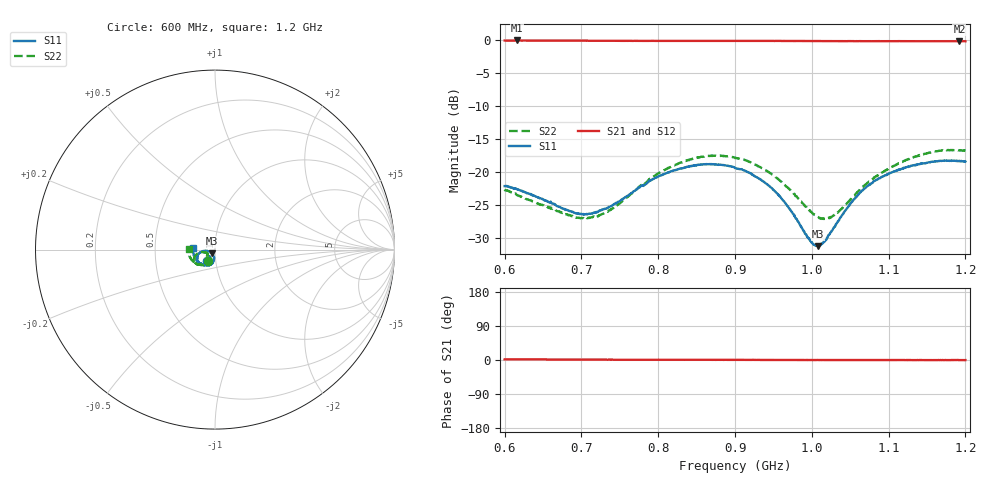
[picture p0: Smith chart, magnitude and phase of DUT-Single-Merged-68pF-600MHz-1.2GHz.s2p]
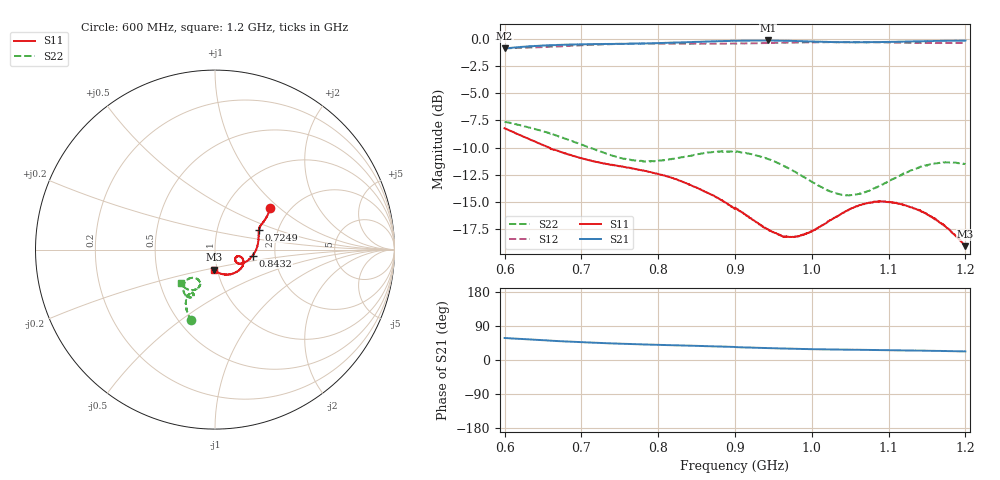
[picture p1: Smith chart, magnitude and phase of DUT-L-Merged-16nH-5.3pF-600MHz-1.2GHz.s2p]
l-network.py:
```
# %%
# Load networks from file

import skrf as rf

dc_block = rf.Network('Tests/DUT-Single-Merged-68pF-600MHz-1.2GHz.s2p')
l_network = rf.Network('Tests/DUT-L-Merged-16nH-5.3pF-600MHz-1.2GHz.s2p')

print(dc_block)
print(l_network)

# %%
# Combine networks
network = dc_block ** l_network
network.name = 'T network'
print(network)

# %%
# Get impedance at 924MHz from s-parameters

# Find closest index to 924MHz
i = rf.util.find_nearest_index(network.f, 924e6)

# Find Z_11 at that index
Z = network.z[i]
Z_lna = Z[1, 1]

print(Z_lna)

# %%
```
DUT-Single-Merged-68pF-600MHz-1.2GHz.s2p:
!Stimulus Real(S11) Imag(S11) Real(S21) Imag(S21) Real(S12) Imag(S12) Real(S22) Imag(S22)
# HZ S RI R 50
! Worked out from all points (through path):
!   1010 points, 600 MHz to 1.2 GHz, reference 50 ohm
!   highest |S21| = -0.02 dB at 616.1 MHz (marker M1); lowest = -0.2 dB at 1.192 GHz (marker M2)
!   lowest |S11| = -31.2 dB at 1.008 GHz (marker M3), VSWR 1.06, Z = 48.1 - j1.93 ohm
!   |S11| at or under -10 dB: start of sweep to end of sweep
!   |S22| runs from -27.2 to -16.6 dB; largest |S21 - S12| = 0.033
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6e8  -0.0432 -0.0653  0.9962 0.0298  0.9937 0.0469  -0.0416 -0.0608
6.160555e8  -0.0449 -0.059  0.9971 0.0294  0.9954 0.0508  -0.0427 -0.0516
7.100099e8  -0.0286 -0.0388  0.9936 0.0157  0.9941 0.0361  -0.0352 -0.0277
8.265609e8  -0.0654 -0.0827  0.9903 0.0116  0.9928 0.0328  -0.0812 -0.0833
9.002972e8  -0.0972 -0.0447  0.99 0.0058  0.9945 0.029  -0.1151 -0.0548
9.49653e8  -0.0727 -0.0103  0.9897 0.00242  0.9955 0.026  -0.0925 -0.0198
1.007929e9  -0.0187 -0.02  0.9871 0.00147  0.9948 0.026  -0.0395 -0.0229
1.028147e9  -0.00736 -0.0367  0.9858 -8.67e-05  0.9946 0.0249  -0.0281 -0.0373
1.083449e9  -0.0231 -0.0843  0.9846 -0.00231  0.9954 0.0241  -0.0447 -0.0814
1.192269e9  -0.1211 -0.00519  0.9824 -0.00294  0.9931 0.0231  -0.146 -0.00907
1.2e9  -0.1202 0.00663  0.9829 -0.00242  0.9927 0.0243  -0.1454 0.0018
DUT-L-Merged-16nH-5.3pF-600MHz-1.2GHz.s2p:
!Stim Real(S11) Imag(S11) Real(S21) Imag(S21) Real(S12) Imag(S12) Real(S22) Imag(S22)
# HZ S RI R 50
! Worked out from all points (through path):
!   1010 points, 600 MHz to 1.2 GHz, reference 50 ohm
!   highest |S21| = -0.15 dB at 943.1 MHz (marker M1); lowest = -0.9 dB at 600 MHz (marker M2)
!   lowest |S11| = -19.1 dB at 1.2 GHz (marker M3), VSWR 1.25, Z = 48.2 - j10.9 ohm
!   |S11| at or under -10 dB: 658 MHz to end of sweep
!   |S22| runs from -14.4 to -7.6 dB; largest |S21 - S12| = 0.052
!   S11 on the Smith chart (normalised r, x): 600 MHz: 1.60, +0.88; 724.9 MHz: 1.59, +0.38; 843.2 MHz: 1.53, -0.11; 1.2 GHz: 0.96, -0.22
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6e8  0.3089 0.2345  0.478 0.7656  0.5211 0.7392  -0.1347 -0.3933
7.248761e8  0.2453 0.1112  0.6713 0.6668  0.6755 0.6556  -0.1537 -0.2614
7.831516e8  0.2418 0.0511  0.7204 0.6236  0.7332 0.603  -0.1243 -0.2432
8.43211e8  0.2094 -0.0332  0.7654 0.5889  0.7693 0.5547  -0.1265 -0.2616
9.002972e8  0.1474 -0.08  0.8102 0.548  0.7943 0.5227  -0.1624 -0.2572
9.431119e8  0.1157 -0.0659  0.8385 0.5123  0.8132 0.5046  -0.1775 -0.2171
9.81764e8  0.1167 -0.0422  0.8509 0.4775  0.8286 0.4866  -0.1632 -0.1761
1.037661e9  0.1495 -0.0454  0.8564 0.4447  0.8541 0.4518  -0.1081 -0.1592
1.092963e9  0.1494 -0.0982  0.8685 0.4253  0.866 0.4218  -0.0825 -0.1979
1.146482e9  0.0771 -0.1385  0.8861 0.4077  0.8709 0.3967  -0.1289 -0.2261
1.2e9  -0.00553 -0.1114  0.906 0.3765  0.8778 0.3813  -0.1902 -0.1851
